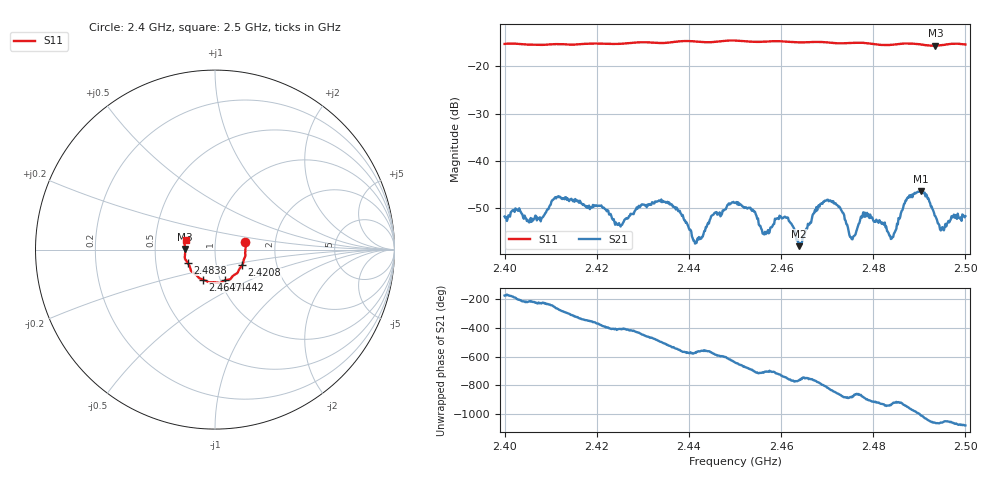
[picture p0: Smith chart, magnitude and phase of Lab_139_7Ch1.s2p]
# Hz S RI R 50
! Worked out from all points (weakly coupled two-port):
!   601 points, 2.4 GHz to 2.5 GHz, reference 50 ohm
!   highest |S21| = -46.46 dB at 2.4903 GHz (marker M1); lowest = -58.1 dB at 2.4638 GHz (marker M2)
!   lowest |S11| = -15.6 dB at 2.4935 GHz (marker M3), VSWR 1.40, Z = 35.8 + j0.21 ohm
!   |S11| at or under -10 dB: start of sweep to end of sweep
!   S12 and S22 are empty: the file has one direction only
!   S11 on the Smith chart (normalised r, x): 2.4 GHz: 1.40, +0.12; 2.4208 GHz: 1.33, -0.24; 2.4442 GHz: 1.05, -0.37; 2.4647 GHz: 0.83, -0.29; 2.4838 GHz: 0.73, -0.11; 2.5 GHz: 0.72, +0.08
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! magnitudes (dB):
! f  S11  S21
! 2.4 GHz  -15.2  -51.8
! 2.4167 GHz  -15.3  -49.1
! 2.4208 GHz  -15.2  -49.6
! 2.425 GHz  -15.2  -53.7
! 2.4333 GHz  -15.0  -48.6
! 2.4412 GHz  -14.7  -57.0
! 2.4442 GHz  -14.9  -53.2
! 2.45 GHz  -14.5  -49.0
! 2.4565 GHz  -14.8  -55.1
! 2.4612 GHz  -14.8  -52.1
! 2.4638 GHz  -14.9  -58.1
! 2.4647 GHz  -14.9  -56.5
! 2.4667 GHz  -14.8  -52.4
! 2.4705 GHz  -15.0  -48.5
! 2.4753 GHz  -15.0  -56.6
! 2.4782 GHz  -15.0  -51.0
! 2.4833 GHz  -15.5  -55.4
! 2.4838 GHz  -15.4  -56.6
! 2.4873 GHz  -15.1  -48.0
! 2.4903 GHz  -15.3  -46.5
! 2.4935 GHz  -15.6  -51.8
! 2.5 GHz  -15.3  -51.8
